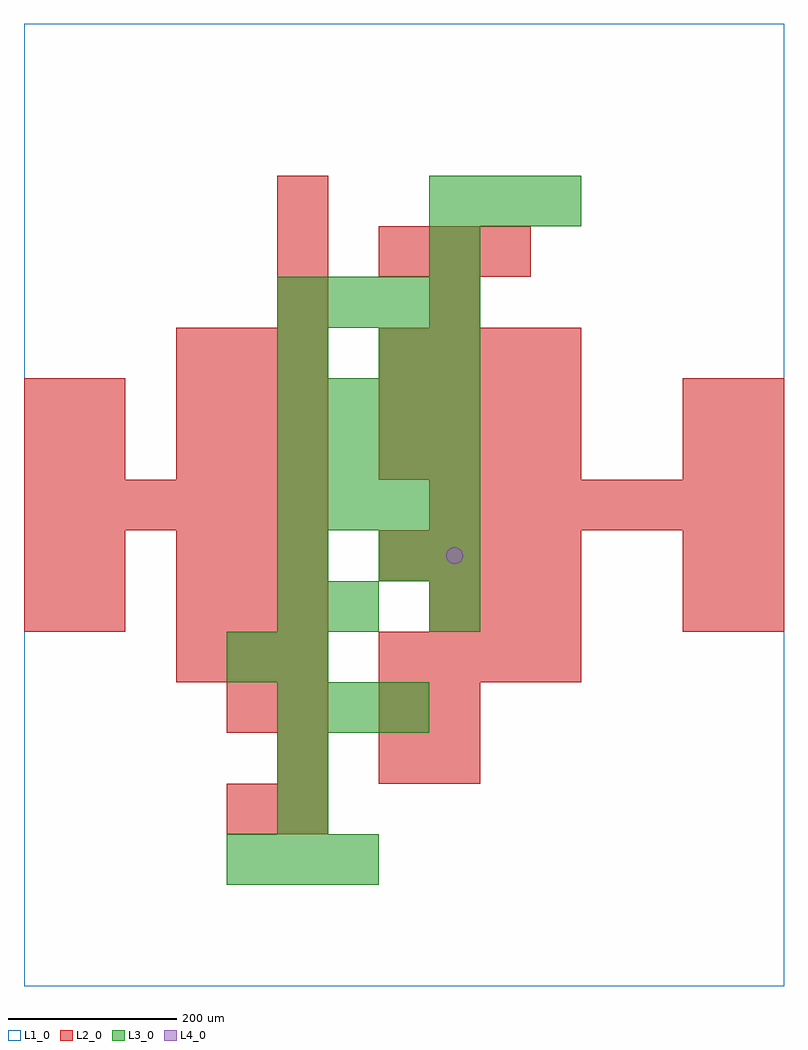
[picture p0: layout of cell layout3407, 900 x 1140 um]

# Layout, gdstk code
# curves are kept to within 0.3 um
import gdstk
lib = gdstk.Library(unit=1e-6, precision=1e-09)
def R(c, l, rs):  # rectangles x0, y0, x1, y1
    for r in rs: c.add(gdstk.rectangle(r[:2], r[2:], *l))
def A(c, l, x, y, w, h, nx, ny, dx, dy):  # array of equal rectangles
    R(c, l, [(x+i*dx, y+j*dy, x+i*dx+w, y+j*dy+h) for i in range(nx) for j in range(ny)])
def P(c, l, *ps):  # polygons
    for p in ps: c.add(gdstk.Polygon(p, *l))
L1_0 = (1, 0)
L2_0 = (2, 0)
L3_0 = (3, 0)
L4_0 = (4, 0)

layout3407 = lib.new_cell('layout3407')
R(layout3407, L1_0, [(0,0,900,1140)])
A(layout3407, L2_0, 300, 180, 60, 60, 1, 3, 0, 60)
A(layout3407, L2_0, 180, 360, 60, 60, 3, 3, 60, 60)
A(layout3407, L2_0, 420, 360, 60, 60, 4, 3, 60, 120)
A(layout3407, L2_0, 480, 420, 60, 60, 3, 1, 60, 0)
A(layout3407, L2_0, 0, 540, 60, 60, 6, 1, 60, 0)
A(layout3407, L2_0, 480, 540, 60, 60, 7, 1, 60, 0)
A(layout3407, L2_0, 180, 600, 60, 60, 3, 3, 60, 60)
A(layout3407, L2_0, 420, 660, 60, 60, 4, 2, 60, 60)
A(layout3407, L2_0, 300, 780, 60, 60, 1, 3, 0, 60)
A(layout3407, L2_0, 420, 840, 60, 60, 3, 1, 60, 0)
R(layout3407, L2_0, [(240,180,300,240), (420,240,480,300), (480,240,540,300), (240,300,300,360), (420,300,480,360), (480,300,540,360), (0,420,60,480), (60,420,120,480), (780,420,840,480), (840,420,900,480), (0,480,60,540), (60,480,120,540), (780,480,840,540), (840,480,900,540), (0,600,60,660), (60,600,120,660), (780,600,840,660), (840,600,900,660), (0,660,60,720), (60,660,120,720), (780,660,840,720), (840,660,900,720), (480,780,540,840)])
A(layout3407, L3_0, 240, 120, 60, 60, 3, 1, 60, 0)
A(layout3407, L3_0, 300, 300, 60, 60, 3, 1, 60, 0)
A(layout3407, L3_0, 300, 360, 60, 60, 1, 3, 0, 60)
A(layout3407, L3_0, 300, 540, 60, 60, 4, 3, 60, 60)
A(layout3407, L3_0, 300, 780, 60, 60, 4, 1, 60, 0)
A(layout3407, L3_0, 480, 900, 60, 60, 3, 1, 60, 0)
R(layout3407, L3_0, [(300,180,360,240), (300,240,360,300), (240,360,300,420), (360,420,420,480), (480,420,540,480), (420,480,480,540), (480,480,540,540), (300,720,360,780), (420,720,480,780), (480,720,540,780), (480,840,540,900)])
P(layout3407, L4_0, [(520,510),(519.239,513.827),(517.071,517.071),(513.827,519.239),(510,520),(506.173,519.239),(502.929,517.071),(500.761,513.827),(500,510),(500.761,506.173),(502.929,502.929),(506.173,500.761),(510,500),(513.827,500.761),(517.071,502.929),(519.239,506.173)])

lib.write_gds('layout3407.gds')
